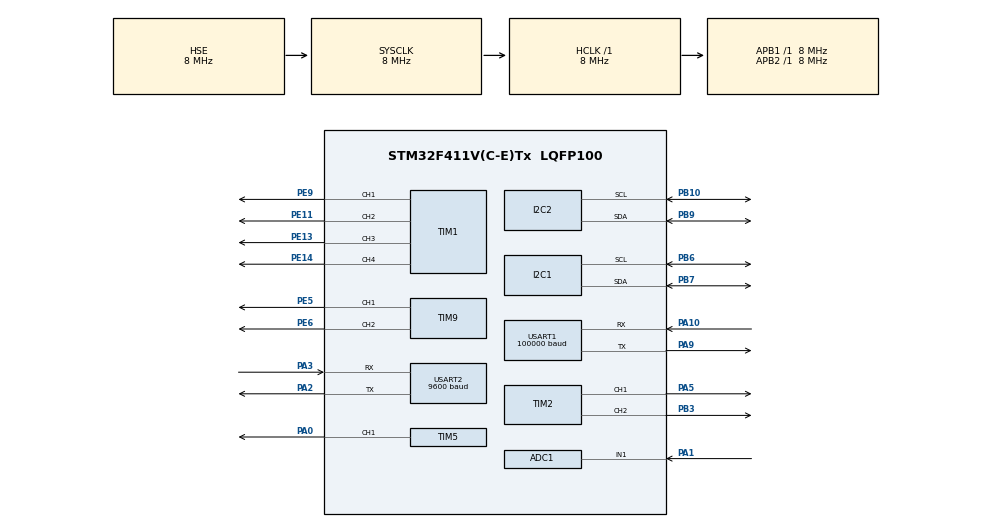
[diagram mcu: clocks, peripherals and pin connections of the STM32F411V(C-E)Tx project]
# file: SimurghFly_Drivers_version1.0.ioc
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Mcu.Family=STM32F4
SH.S_TIM1_CH4.0=TIM1_CH4,PWM Generation4 CH4
RCC.CortexFreq_Value=8000000
PB10.Mode=I2C
USART1.BaudRate=100000
USART2.Parity=PARITY_NONE
TIM2.Channel-PWM\ Generation2\ CH2=TIM_CHANNEL_2
RCC.SYSCLKSource=RCC_SYSCLKSOURCE_HSE
ProjectManager.StackSize=0x400
USART1.StopBits=STOPBITS_2
PH0\ -\ OSC_IN.Signal=RCC_OSC_IN
TIM1.Channel-PWM\ Generation4\ CH4=TIM_CHANNEL_4
RCC.HCLKFreq_Value=8000000
RCC.APB2TimFreq_Value=8000000
PB6.Signal=I2C1_SCL
ADC1.Channel-2\#ChannelRegularConversion=ADC_CHANNEL_1
PB6.Mode=I2C
PE5.Signal=S_TIM9_CH1
RCC.AHBFreq_Value=8000000
Dma.USART1_RX.0.Priority=DMA_PRIORITY_LOW
RCC.HSE_VALUE=8000000
ADC1.Rank-2\#ChannelRegularConversion=1
PE13.Signal=S_TIM1_CH3
TIM1.Channel-PWM\ Generation1\ CH1=TIM_CHANNEL_1
PE9.Signal=S_TIM1_CH1
PA14.Mode=Serial_Wire
PB7.Signal=I2C1_SDA
TIM2.Channel-PWM\ Generation1\ CH1=TIM_CHANNEL_1
Dma.USART1_RX.0.MemInc=DMA_MINC_ENABLE
PB9.Signal=I2C2_SDA
Mcu.Package=LQFP100
USART2.VirtualMode=VM_ASYNC
PA10.Signal=USART1_RX
Dma.USART1_RX.0.FIFOMode=DMA_FIFOMODE_DISABLE
SH.ADCx_IN1.0=ADC1_IN1,IN1
NVIC.DMA2_Stream2_IRQn=true\:0\:0\:false\:false\:true\:false\:true
RCC.APB1TimFreq_Value=8000000
SH.S_TIM5_CH1.0=TIM5_CH1,PWM Generation1 CH1
Dma.USART1_RX.0.Mode=DMA_CIRCULAR
Dma.Request0=USART1_RX
Dma.USART1_RX.0.Instance=DMA2_Stream2
PA3.Signal=USART2_RX
TIM9.Channel-PWM\ Generation2\ CH2=TIM_CHANNEL_2
RCC.PLLSourceVirtual=RCC_PLLSOURCE_HSE
TIM9.Channel-PWM\ Generation1\ CH1=TIM_CHANNEL_1
Dma.USART1_RX.0.PeriphDataAlignment=DMA_PDATAALIGN_BYTE
PA10.Mode=Asynchronous
PH1\ -\ OSC_OUT.Mode=HSE-External-Oscillator
USART2.BaudRate=9600
ADC1.SamplingTime-2\#ChannelRegularConversion=ADC_SAMPLETIME_3CYCLES
PA0-WKUP.Signal=S_TIM5_CH1
PA13.Signal=SYS_JTMS-SWDIO
PA3.Mode=Asynchronous
SH.S_TIM2_CH2.0=TIM2_CH2,PWM Generation2 CH2
PA9.Mode=Asynchronous
PH0\ -\ OSC_IN.Mode=HSE-External-Oscillator
SH.S_TIM1_CH1.0=TIM1_CH1,PWM Generation1 CH1
ProjectManager.TargetToolchain=STM32CubeIDE
SH.S_TIM9_CH2.0=TIM9_CH2,PWM Generation2 CH2
Dma.USART1_RX.0.Direction=DMA_PERIPH_TO_MEMORY
PB9.Mode=I2C
PA9.Signal=USART1_TX
USART1.Parity=PARITY_EVEN
TIM1.Channel-PWM\ Generation2\ CH2=TIM_CHANNEL_2
PE11.Signal=S_TIM1_CH2
RCC.LSE_VALUE=32768
PA1.Signal=ADCx_IN1
Dma.USART1_RX.0.PeriphInc=DMA_PINC_DISABLE
PB10.Signal=I2C2_SCL
PA5.Signal=S_TIM2_CH1_ETR
PH1\ -\ OSC_OUT.Signal=RCC_OSC_OUT
board=custom
RCC.VCOOutputFreq_Value=96000000
RCC.APB2Freq_Value=8000000
PE14.Signal=S_TIM1_CH4
USART2.StopBits=STOPBITS_1
SH.S_TIM1_CH2.0=TIM1_CH2,PWM Generation2 CH2
SH.S_TIM9_CH1.0=TIM9_CH1,PWM Generation1 CH1
Dma.USART1_RX.0.MemDataAlignment=DMA_MDATAALIGN_BYTE
PE6.Signal=S_TIM9_CH2
PA13.Mode=Serial_Wire
Mcu.Name=STM32F411V(C-E)Tx
PA2.Signal=USART2_TX
RCC.48MHZClocksFreq_Value=24000000
PB3.Signal=S_TIM2_CH2
RCC.SYSCLKFreq_VALUE=8000000
ADC1.master=1
USART1.VirtualMode=VM_ASYNC
PB7.Mode=I2C
SH.S_TIM2_CH1_ETR.0=TIM2_CH1,PWM Generation1 CH1
TIM5.Channel-PWM\ Generation1\ CH1=TIM_CHANNEL_1
PA14.Signal=SYS_JTCK-SWCLK
ProjectManager.HeapSize=0x200
SH.S_TIM1_CH3.0=TIM1_CH3,PWM Generation3 CH3
RCC.HSI_VALUE=16000000
NVIC.PriorityGroup=NVIC_PRIORITYGROUP_4
ADC1.NbrOfConversionFlag=1
PA2.Mode=Asynchronous
TIM1.Channel-PWM\ Generation3\ CH3=TIM_CHANNEL_3
RCC.APB1Freq_Value=8000000

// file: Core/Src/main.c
/* USER CODE BEGIN Header */
/**
  ******************************************************************************
  * @file           : main.c
  * @brief          : Main program body
  ******************************************************************************
  * @attention
  *
  * <h2><center>&copy; Copyright (c) 2023 STMicroelectronics.
  * All rights reserved.</center></h2>
  *
  * This software component is licensed by ST under BSD 3-Clause license,
  * the "License"; You may not use this file except in compliance with the
  * License. You may obtain a copy of the License at:
  *                        opensource.org/licenses/BSD-3-Clause
  *
  ******************************************************************************
  */
/* USER CODE END Header */
#include "main.h"

/* USER CODE BEGIN Includes */

#include "BMP280.h"  //I2C1
#include "buzzer_driver.h" //TIM5 PWM CH1
#include "ESC_driver.h" // TIM9 PWM CH1 and CH2
#include "NMEA.h" // GPS UART2
#include "Uart_Ring_Buffer.h"
#include "Pitot_driver.h" // ADC IN1
#include "Sbus_Driver.h" // UART1 DMA
#include "servo_driver.h"

/* USER CODE END Includes */

/* USER CODE BEGIN PD */

float Temperature_BMP, Pressure_BMP , Humidity_BMP,Altitude_BMP; //BMP or BME

char GGA[100]; //GPS
char RMC[100];
GPSSTRUCT gpsData;

uint32_t raw_Volt; //Pitot
float  air_speed, voltage ;
float kpascal_pitot ;
float pitot_velocity ;

uint8_t Sbus_Buffer[25]; // SBUS
uint16_t Command_Channels[18];
/* Command_Channels >>>> 7 > Switch A  and 8 > Switch B  which their values between 630-640 and 1220-1230
 * Command_Channels >>>> 9 > Vr Knob A and 10 > Vr Knob B which their values between 0-2000 but non-step
 * Command_Channels >>>> 4 > Throttle 200-1600-100  5 > Rudder 450 - 1200 - 480
 * Command_Channels >>>> 2 and 3 Aileron-Elevator 50-2000 (I will consider again)
 */

/* USER CODE END PD */

ADC_HandleTypeDef hadc1;

I2C_HandleTypeDef hi2c1;
I2C_HandleTypeDef hi2c2;

TIM_HandleTypeDef htim1;
TIM_HandleTypeDef htim2;
TIM_HandleTypeDef htim5;
TIM_HandleTypeDef htim9;

UART_HandleTypeDef huart1;
UART_HandleTypeDef huart2;
DMA_HandleTypeDef hdma_usart1_rx;

void SystemClock_Config(void);
static void MX_GPIO_Init(void);
static void MX_DMA_Init(void);
static void MX_I2C1_Init(void);
static void MX_I2C2_Init(void);
static void MX_USART1_UART_Init(void);
static void MX_USART2_UART_Init(void);
static void MX_ADC1_Init(void);
static void MX_TIM1_Init(void);
static void MX_TIM2_Init(void);
static void MX_TIM5_Init(void);
static void MX_TIM9_Init(void);

int main(void)
{

  /* MCU Configuration--------------------------------------------------------*/

  /* Reset of all peripherals, Initializes the Flash interface and the Systick. */
  HAL_Init();

  /* Configure the system clock */
  SystemClock_Config();

  /* Initialize all configured peripherals */
  MX_GPIO_Init();
  MX_DMA_Init();
  MX_I2C1_Init();
  MX_I2C2_Init();
  MX_USART1_UART_Init();
  MX_USART2_UART_Init();
  MX_ADC1_Init();
  MX_TIM1_Init();
  MX_TIM2_Init();
  MX_TIM5_Init();
  MX_TIM9_Init();
  /* USER CODE BEGIN 2 */

  BME280_Config(OSRS_2, OSRS_16, OSRS_1, MODE_NORMAL, T_SB_0p5, IIR_16);
  Ringbuf_init();  //GPS
  buzzer_init();
  buzzer_enable();
  begining_song();
  ESC_init();
  ESC_enable();

  SBUS_Init();

  HAL_Delay(500);
  /* USER CODE END 2 */

  /* Infinite loop */
  /* USER CODE BEGIN WHILE */
  while (1)
  {
	  BME280_Measure();
	  BMP280_Altitude();
	  GPS_General_Read();
	  Pitot_ADC_Read();

    /* USER CODE END WHILE */

  }
}

void SystemClock_Config(void)
{
  RCC_OscInitTypeDef RCC_OscInitStruct = {0};
  RCC_ClkInitTypeDef RCC_ClkInitStruct = {0};

  /** Configure the main internal regulator output voltage
  */
  __HAL_RCC_PWR_CLK_ENABLE();
  __HAL_PWR_VOLTAGESCALING_CONFIG(PWR_REGULATOR_VOLTAGE_SCALE1);
  /** Initializes the RCC Oscillators according to the specified parameters
  * in the RCC_OscInitTypeDef structure.
  */
  RCC_OscInitStruct.OscillatorType = RCC_OSCILLATORTYPE_HSE;
  RCC_OscInitStruct.HSEState = RCC_HSE_ON;
  RCC_OscInitStruct.PLL.PLLState = RCC_PLL_NONE;
  if (HAL_RCC_OscConfig(&RCC_OscInitStruct) != HAL_OK)
  {
    Error_Handler();
  }
  /** Initializes the CPU, AHB and APB buses clocks
  */
  RCC_ClkInitStruct.ClockType = RCC_CLOCKTYPE_HCLK|RCC_CLOCKTYPE_SYSCLK
                              |RCC_CLOCKTYPE_PCLK1|RCC_CLOCKTYPE_PCLK2;
  RCC_ClkInitStruct.SYSCLKSource = RCC_SYSCLKSOURCE_HSE;
  RCC_ClkInitStruct.AHBCLKDivider = RCC_SYSCLK_DIV1;
  RCC_ClkInitStruct.APB1CLKDivider = RCC_HCLK_DIV1;
  RCC_ClkInitStruct.APB2CLKDivider = RCC_HCLK_DIV1;

  if (HAL_RCC_ClockConfig(&RCC_ClkInitStruct, FLASH_LATENCY_0) != HAL_OK)
  {
    Error_Handler();
  }
}

static void MX_ADC1_Init(void)
{

  ADC_ChannelConfTypeDef sConfig = {0};

  /** Configure the global features of the ADC (Clock, Resolution, Data Alignment and number of conversion)
  */
  hadc1.Instance = ADC1;
  hadc1.Init.ClockPrescaler = ADC_CLOCK_SYNC_PCLK_DIV2;
  hadc1.Init.Resolution = ADC_RESOLUTION_12B;
  hadc1.Init.ScanConvMode = DISABLE;
  hadc1.Init.ContinuousConvMode = DISABLE;
  hadc1.Init.DiscontinuousConvMode = DISABLE;
  hadc1.Init.ExternalTrigConvEdge = ADC_EXTERNALTRIGCONVEDGE_NONE;
  hadc1.Init.ExternalTrigConv = ADC_SOFTWARE_START;
  hadc1.Init.DataAlign = ADC_DATAALIGN_RIGHT;
  hadc1.Init.NbrOfConversion = 1;
  hadc1.Init.DMAContinuousRequests = DISABLE;
  hadc1.Init.EOCSelection = ADC_EOC_SINGLE_CONV;
  if (HAL_ADC_Init(&hadc1) != HAL_OK)
  {
    Error_Handler();
  }
  /** Configure for the selected ADC regular channel its corresponding rank in the sequencer and its sample time.
  */
  sConfig.Channel = ADC_CHANNEL_1;
  sConfig.Rank = 1;
  sConfig.SamplingTime = ADC_SAMPLETIME_3CYCLES;
  if (HAL_ADC_ConfigChannel(&hadc1, &sConfig) != HAL_OK)
  {
    Error_Handler();
  }

}

static void MX_I2C1_Init(void)
{

  hi2c1.Instance = I2C1;
  hi2c1.Init.ClockSpeed = 100000;
  hi2c1.Init.DutyCycle = I2C_DUTYCYCLE_2;
  hi2c1.Init.OwnAddress1 = 0;
  hi2c1.Init.AddressingMode = I2C_ADDRESSINGMODE_7BIT;
  hi2c1.Init.DualAddressMode = I2C_DUALADDRESS_DISABLE;
  hi2c1.Init.OwnAddress2 = 0;
  hi2c1.Init.GeneralCallMode = I2C_GENERALCALL_DISABLE;
  hi2c1.Init.NoStretchMode = I2C_NOSTRETCH_DISABLE;
  if (HAL_I2C_Init(&hi2c1) != HAL_OK)
  {
    Error_Handler();
  }

}

static void MX_I2C2_Init(void)
{

  hi2c2.Instance = I2C2;
  hi2c2.Init.ClockSpeed = 100000;
  hi2c2.Init.DutyCycle = I2C_DUTYCYCLE_2;
  hi2c2.Init.OwnAddress1 = 0;
  hi2c2.Init.AddressingMode = I2C_ADDRESSINGMODE_7BIT;
  hi2c2.Init.DualAddressMode = I2C_DUALADDRESS_DISABLE;
  hi2c2.Init.OwnAddress2 = 0;
  hi2c2.Init.GeneralCallMode = I2C_GENERALCALL_DISABLE;
  hi2c2.Init.NoStretchMode = I2C_NOSTRETCH_DISABLE;
  if (HAL_I2C_Init(&hi2c2) != HAL_OK)
  {
    Error_Handler();
  }

}

static void MX_TIM1_Init(void)
{

  TIM_MasterConfigTypeDef sMasterConfig = {0};
  TIM_OC_InitTypeDef sConfigOC = {0};
  TIM_BreakDeadTimeConfigTypeDef sBreakDeadTimeConfig = {0};

  htim1.Instance = TIM1;
  htim1.Init.Prescaler = 0;
  htim1.Init.CounterMode = TIM_COUNTERMODE_UP;
  htim1.Init.Period = 65535;
  htim1.Init.ClockDivision = TIM_CLOCKDIVISION_DIV1;
  htim1.Init.RepetitionCounter = 0;
  htim1.Init.AutoReloadPreload = TIM_AUTORELOAD_PRELOAD_DISABLE;
  if (HAL_TIM_PWM_Init(&htim1) != HAL_OK)
  {
    Error_Handler();
  }
  sMasterConfig.MasterOutputTrigger = TIM_TRGO_RESET;
  sMasterConfig.MasterSlaveMode = TIM_MASTERSLAVEMODE_DISABLE;
  if (HAL_TIMEx_MasterConfigSynchronization(&htim1, &sMasterConfig) != HAL_OK)
  {
    Error_Handler();
  }
  sConfigOC.OCMode = TIM_OCMODE_PWM1;
  sConfigOC.Pulse = 0;
  sConfigOC.OCPolarity = TIM_OCPOLARITY_HIGH;
  sConfigOC.OCNPolarity = TIM_OCNPOLARITY_HIGH;
  sConfigOC.OCFastMode = TIM_OCFAST_DISABLE;
  sConfigOC.OCIdleState = TIM_OCIDLESTATE_RESET;
  sConfigOC.OCNIdleState = TIM_OCNIDLESTATE_RESET;
  if (HAL_TIM_PWM_ConfigChannel(&htim1, &sConfigOC, TIM_CHANNEL_1) != HAL_OK)
  {
    Error_Handler();
  }
  if (HAL_TIM_PWM_ConfigChannel(&htim1, &sConfigOC, TIM_CHANNEL_2) != HAL_OK)
  {
    Error_Handler();
  }
  if (HAL_TIM_PWM_ConfigChannel(&htim1, &sConfigOC, TIM_CHANNEL_3) != HAL_OK)
  {
    Error_Handler();
  }
  if (HAL_TIM_PWM_ConfigChannel(&htim1, &sConfigOC, TIM_CHANNEL_4) != HAL_OK)
  {
    Error_Handler();
  }
  sBreakDeadTimeConfig.OffStateRunMode = TIM_OSSR_DISABLE;
  sBreakDeadTimeConfig.OffStateIDLEMode = TIM_OSSI_DISABLE;
  sBreakDeadTimeConfig.LockLevel = TIM_LOCKLEVEL_OFF;
  sBreakDeadTimeConfig.DeadTime = 0;
  sBreakDeadTimeConfig.BreakState = TIM_BREAK_DISABLE;
  sBreakDeadTimeConfig.BreakPolarity = TIM_BREAKPOLARITY_HIGH;
  sBreakDeadTimeConfig.AutomaticOutput = TIM_AUTOMATICOUTPUT_DISABLE;
  if (HAL_TIMEx_ConfigBreakDeadTime(&htim1, &sBreakDeadTimeConfig) != HAL_OK)
  {
    Error_Handler();
  }
  HAL_TIM_MspPostInit(&htim1);

}

static void MX_TIM2_Init(void)
{

  TIM_MasterConfigTypeDef sMasterConfig = {0};
  TIM_OC_InitTypeDef sConfigOC = {0};

  htim2.Instance = TIM2;
  htim2.Init.Prescaler = 0;
  htim2.Init.CounterMode = TIM_COUNTERMODE_UP;
  htim2.Init.Period = 4294967295;
  htim2.Init.ClockDivision = TIM_CLOCKDIVISION_DIV1;
  htim2.Init.AutoReloadPreload = TIM_AUTORELOAD_PRELOAD_DISABLE;
  if (HAL_TIM_PWM_Init(&htim2) != HAL_OK)
  {
    Error_Handler();
  }
  sMasterConfig.MasterOutputTrigger = TIM_TRGO_RESET;
  sMasterConfig.MasterSlaveMode = TIM_MASTERSLAVEMODE_DISABLE;
  if (HAL_TIMEx_MasterConfigSynchronization(&htim2, &sMasterConfig) != HAL_OK)
  {
    Error_Handler();
  }
  sConfigOC.OCMode = TIM_OCMODE_PWM1;
  sConfigOC.Pulse = 0;
  sConfigOC.OCPolarity = TIM_OCPOLARITY_HIGH;
  sConfigOC.OCFastMode = TIM_OCFAST_DISABLE;
  if (HAL_TIM_PWM_ConfigChannel(&htim2, &sConfigOC, TIM_CHANNEL_1) != HAL_OK)
  {
    Error_Handler();
  }
  if (HAL_TIM_PWM_ConfigChannel(&htim2, &sConfigOC, TIM_CHANNEL_2) != HAL_OK)
  {
    Error_Handler();
  }
  HAL_TIM_MspPostInit(&htim2);

}

static void MX_TIM5_Init(void)
{

  TIM_MasterConfigTypeDef sMasterConfig = {0};
  TIM_OC_InitTypeDef sConfigOC = {0};

  htim5.Instance = TIM5;
  htim5.Init.Prescaler = 0;
  htim5.Init.CounterMode = TIM_COUNTERMODE_UP;
  htim5.Init.Period = 4294967295;
  htim5.Init.ClockDivision = TIM_CLOCKDIVISION_DIV1;
  htim5.Init.AutoReloadPreload = TIM_AUTORELOAD_PRELOAD_DISABLE;
  if (HAL_TIM_PWM_Init(&htim5) != HAL_OK)
  {
    Error_Handler();
  }
  sMasterConfig.MasterOutputTrigger = TIM_TRGO_RESET;
  sMasterConfig.MasterSlaveMode = TIM_MASTERSLAVEMODE_DISABLE;
  if (HAL_TIMEx_MasterConfigSynchronization(&htim5, &sMasterConfig) != HAL_OK)
  {
    Error_Handler();
  }
  sConfigOC.OCMode = TIM_OCMODE_PWM1;
  sConfigOC.Pulse = 0;
  sConfigOC.OCPolarity = TIM_OCPOLARITY_HIGH;
  sConfigOC.OCFastMode = TIM_OCFAST_DISABLE;
  if (HAL_TIM_PWM_ConfigChannel(&htim5, &sConfigOC, TIM_CHANNEL_1) != HAL_OK)
  {
    Error_Handler();
  }
  HAL_TIM_MspPostInit(&htim5);

}

static void MX_TIM9_Init(void)
{

  TIM_OC_InitTypeDef sConfigOC = {0};

  htim9.Instance = TIM9;
  htim9.Init.Prescaler = 0;
  htim9.Init.CounterMode = TIM_COUNTERMODE_UP;
  htim9.Init.Period = 65535;
  htim9.Init.ClockDivision = TIM_CLOCKDIVISION_DIV1;
  htim9.Init.AutoReloadPreload = TIM_AUTORELOAD_PRELOAD_DISABLE;
  if (HAL_TIM_PWM_Init(&htim9) != HAL_OK)
  {
    Error_Handler();
  }
  sConfigOC.OCMode = TIM_OCMODE_PWM1;
  sConfigOC.Pulse = 0;
  sConfigOC.OCPolarity = TIM_OCPOLARITY_HIGH;
  sConfigOC.OCFastMode = TIM_OCFAST_DISABLE;
  if (HAL_TIM_PWM_ConfigChannel(&htim9, &sConfigOC, TIM_CHANNEL_1) != HAL_OK)
  {
    Error_Handler();
  }
  if (HAL_TIM_PWM_ConfigChannel(&htim9, &sConfigOC, TIM_CHANNEL_2) != HAL_OK)
  {
    Error_Handler();
  }
  HAL_TIM_MspPostInit(&htim9);

}

static void MX_USART1_UART_Init(void)
{

  huart1.Instance = USART1;
  huart1.Init.BaudRate = 100000;
  huart1.Init.WordLength = UART_WORDLENGTH_8B;
  huart1.Init.StopBits = UART_STOPBITS_2;
  huart1.Init.Parity = UART_PARITY_EVEN;
  huart1.Init.Mode = UART_MODE_TX_RX;
  huart1.Init.HwFlowCtl = UART_HWCONTROL_NONE;
  huart1.Init.OverSampling = UART_OVERSAMPLING_16;
  if (HAL_UART_Init(&huart1) != HAL_OK)
  {
    Error_Handler();
  }

}

static void MX_USART2_UART_Init(void)
{

  huart2.Instance = USART2;
  huart2.Init.BaudRate = 9600;
  huart2.Init.WordLength = UART_WORDLENGTH_8B;
  huart2.Init.StopBits = UART_STOPBITS_1;
  huart2.Init.Parity = UART_PARITY_NONE;
  huart2.Init.Mode = UART_MODE_TX_RX;
  huart2.Init.HwFlowCtl = UART_HWCONTROL_NONE;
  huart2.Init.OverSampling = UART_OVERSAMPLING_16;
  if (HAL_UART_Init(&huart2) != HAL_OK)
  {
    Error_Handler();
  }

}

static void MX_DMA_Init(void)
{

  /* DMA controller clock enable */
  __HAL_RCC_DMA2_CLK_ENABLE();

  /* DMA interrupt init */
  /* DMA2_Stream2_IRQn interrupt configuration */
  HAL_NVIC_SetPriority(DMA2_Stream2_IRQn, 0, 0);
  HAL_NVIC_EnableIRQ(DMA2_Stream2_IRQn);

}

static void MX_GPIO_Init(void)
{

  /* GPIO Ports Clock Enable */
  __HAL_RCC_GPIOE_CLK_ENABLE();
  __HAL_RCC_GPIOH_CLK_ENABLE();
  __HAL_RCC_GPIOA_CLK_ENABLE();
  __HAL_RCC_GPIOB_CLK_ENABLE();

}

void Error_Handler(void)
{
  __disable_irq();
  while (1)
  {
  }
}

/************************ (C) COPYRIGHT STMicroelectronics *****END OF FILE****/
